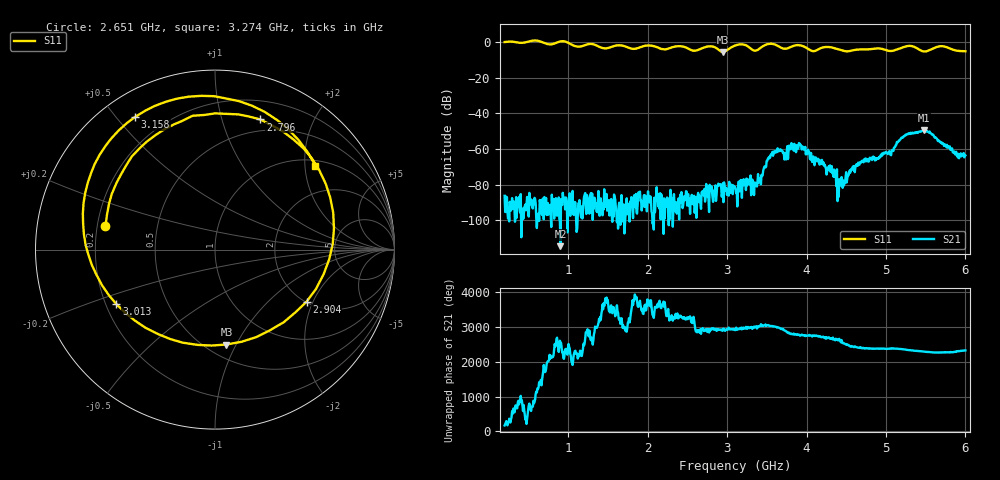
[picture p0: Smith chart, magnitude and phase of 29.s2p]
! NanoVNA-App
! Date: 2024-06-25 16:11:48
! Start: 200MHz Stop: 6GHz Points: 801
! S-Parameter data: F S11 S21 S12 S22
# Hz S RI R 50
!  Frequency  S11_Real  S11_Imag  S21_Real  S21_Imag  S12_Real  S12_Imag  S22_Real  S22_Imag
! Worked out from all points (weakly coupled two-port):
!   801 points, 200 MHz to 6 GHz, reference 50 ohm
!   highest |S21| = -49.54 dB at 5.478 GHz (marker M1); lowest = -114.4 dB at 903.2 MHz (marker M2)
!   lowest |S11| = -5.5 dB at 2.948 GHz (marker M3), VSWR 3.28, Z = 31 - j45.7 ohm
!   |S11| at or under -10 dB: nowhere
!   S12 and S22 are empty: the file has one direction only
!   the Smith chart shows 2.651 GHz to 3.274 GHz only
!   S11 on the Smith chart (normalised r, x): 2.651 GHz: 0.23, +0.10; 2.796 GHz: 0.38, +1.34; 2.904 GHz: 2.02, -1.79; 3.013 GHz: 0.24, -0.24; 3.158 GHz: 0.10, +0.56; 3.274 GHz: 1.13, +2.27
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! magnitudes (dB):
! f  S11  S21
! 200 MHz  0.0  -86.2
! 903.2 MHz  0.4  -114.4
! 1.171 GHz  -2.3  -92.1
! 2.136 GHz  -3.1  -92.2
! 2.651 GHz  -4.1  -86.0
! 2.796 GHz  -2.3  -83.4
! 2.904 GHz  -4.6  -79.7
! 2.948 GHz  -5.5  -79.2
! 3.013 GHz  -4.0  -82.4
! 3.1 GHz  -1.9  -81.2
! 3.158 GHz  -1.3  -83.8
! 3.274 GHz  -2.7  -77.5
! 3.397 GHz  -4.0  -78.8
! 3.644 GHz  -2.2  -61.3
! 3.934 GHz  -1.9  -58.4
! 4.072 GHz  -5.0  -67.2
! 4.449 GHz  -4.7  -77.2
! 4.702 GHz  -4.0  -67.1
! 5.036 GHz  -4.9  -62.0
! 5.246 GHz  -2.4  -51.9
! 5.478 GHz  -5.2  -49.5
! 6 GHz  -5.1  -63.5
